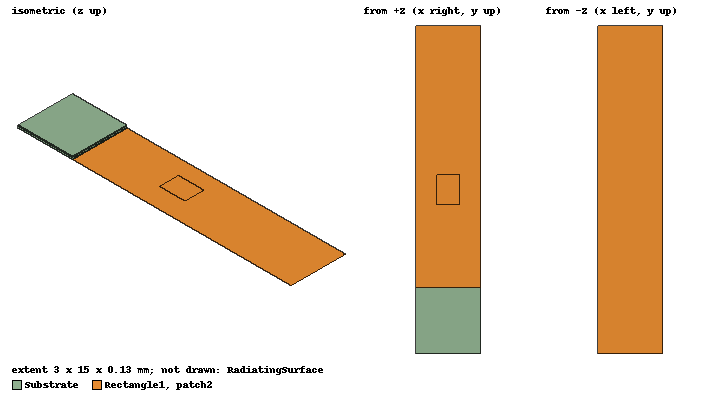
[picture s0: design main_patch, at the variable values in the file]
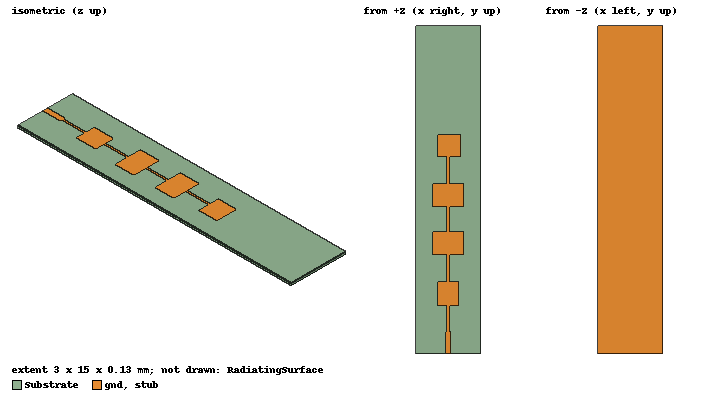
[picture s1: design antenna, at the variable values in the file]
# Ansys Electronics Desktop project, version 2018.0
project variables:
  $subX = 3mm
  $subY = 15mm
  $subThick = 0.13mm
  $patchX = 40.95mil
  $patchY = 55.12mil
  $A1 = 27.568mil
  $A2 = 11.802mil
  $B1 = 47.24mil
  $B2 = 49.21mil
  $B3 = 45.27mil
  $B4 = 49.21mil
  $C1 = 42.52mil
  $C2 = 40.95mil
  $D1 = 16.722mil
  $D2 = 20.002mil
  $E1 = 39.38mil
  $E2 = 55.12mil
  $F1 = 8.4mil
  $F2 = 10.62mil
  $F3 = 3.94mil
  $G = 100mil
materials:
  vacuum: permittivity=1
  Rogers RO3003 (tm): permittivity=3 dielectric_loss_tangent=0.0013
  copper: permeability=0.999991 conductivity=58000000
  FR4_epoxy: permittivity=4.4 dielectric_loss_tangent=0.02
  air: permittivity=1.0006 permeability=1.0000004

design main_patch (HFSS, DrivenModal, model units mm)
options: open_region{BoundaryType=0 OpFreq=77GHz}
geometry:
  RadiatingSurface [vacuum] = region(absolute_offset=1.2987013mm on all sides)
  Substrate [Rogers RO3003 (tm)] = box(corner=(0mm, 0mm, 0mm), size=(3mm, 3mm, 0.13mm))
  Rectangle1 = rectangle(corner=(0mm, 0mm, 0mm), x_size=$subX, y_size=$subY)
  patch2 = rectangle(corner=($subX /2 - $patchX/2, $subY/2-$patchY/2, $subThick), x_size=$patchX, y_size=$patchY)
  feed = rectangle(corner=($subX/2-$patchX/2, $subY/2-3.94mil/2, 0), y_size=3.94mil, z_size=$subThick)
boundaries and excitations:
  AutoOpen1: Radiation Objects=RadiatingSurface
  FiniteCond1: Finite Conductivity Objects=Rectangle1 UseMaterial Material=copper IsInternal
  FiniteCond2: Finite Conductivity Objects=patch2 UseMaterial Material=copper IsInternal
  1: Lumped Port Objects=feed Modes{Mode1{IntLine{middle of feed.edge(z at corner) -> middle of feed.edge(z opposite corner)} CharImp=Zpi RenormImp=50ohm}} Impedance=50ohm
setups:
  Auto1: HfssDriven Frequency=77GHz MaxDeltaS=0.02 MaximumPasses=15 MinimumPasses=1 MinimumConvergedPasses=1 PercentRefinement=30 BasisOrder=1 PortAccuracy=2
    sweep singlePoint: point 77GHz; Type=Discrete
    sweep band: 70GHz to 85GHz step 0.02GHz; Type=Fast SaveFields
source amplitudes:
  1:1: 1W 0deg
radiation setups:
  3D: Infinite Sphere Theta=0deg..180deg step 2deg Phi=-180deg..180deg step 2deg
  Elevation: Infinite Sphere Theta=-180deg..180deg step 1deg Phi=0deg..90deg step 90deg
  Azimuth: Infinite Sphere Theta=90deg..90deg step 0deg Phi=-180deg..180deg step 1deg
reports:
  S Parameter Plot 1: dB(S(1,1)) vs Freq on Auto1 : band; markers MX1 at x=7.8618516e+10
  Z Parameter Plot 1: re(Z(1,1)), im(Z(1,1)) vs Freq on Auto1 : band

design antenna (HFSS, DrivenTerminal, model units mm)
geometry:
  Substrate [Rogers RO3003 (tm)] = box(corner=(0mm, 0mm, 0mm), size=($subX, $subY, $subThick))
  gnd = rectangle(corner=(0mm, 0mm, 0mm), x_size=$subX, y_size=$subY)
  stub = rectangle(corner=($subX/2 - $F2/2, 0mm, $subThick), x_size=$F2, y_size=$A1+$A2)
  feed1 = rectangle(corner=($subX/2 - $F3/2, $A1+$A2, 0.13mm), x_size=$F3, y_size=$B1)
  patch1 = rectangle(corner=($subX/2 - $E1/2, $A1+$A2+$B1, $subThick), x_size=$E1, y_size=$C1)
  feed2 = rectangle(corner=($subX/2 - $F3/2, $A1+$A2+$B1+$C1, $subThick), x_size=$F3, y_size=$B2)
  patch2 = rectangle(corner=($subX/2 - $E2/2, $A1+$A2+$B1+$C1+$B2, $subThick), x_size=$E2, y_size=$C2)
  feed3 = rectangle(corner=($subX/2 - $F3/2, $A1+$A2+$B1+$B2+$C1+$C2, $subThick), x_size=$F3, y_size=$B3)
  patch3 = rectangle(corner=($subX/2-$E2/2, $A1+$A2+$B1+$B2+$B3+$C1+$C2, $subThick), x_size=$E2, y_size=$C2)
  feed4 = rectangle(corner=($subX/2 - $F3/2, $A1+$A2+$B1+$B2+$B3+$C1+$C2+$C2, $subThick), x_size=$F3, y_size=$B4)
  patch4 = rectangle(corner=($subX/2 - $E1/2, $A1+$A2+$B1+$B2+$B3+$B4+$C1+2*$C2, $subThick), x_size=$C1, y_size=$E1)
  stub.unite(patch4, patch3, patch2, patch1, feed4, feed3, feed2, feed1)
  port = rectangle(corner=($subX/2 - $F1/2, 0mm, 0), z_size=$subThick, x_size=$F1)
  RadiatingSurface [vacuum] = region(absolute_offset=1.2820513mm on all sides)
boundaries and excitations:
  FiniteCond1: Finite Conductivity Objects=gnd UseMaterial Material=copper IsInternal
  FiniteCond2: Finite Conductivity Objects=stub UseMaterial Material=copper IsInternal
  Open1: Radiation Objects=RadiatingSurface
  1: Lumped Port Objects=port Impedance=50ohm
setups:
  Auto1: HfssDriven Frequency=78GHz MaxDeltaS=0.02 MaximumPasses=20 MinimumPasses=1 MinimumConvergedPasses=1 PercentRefinement=30 BasisOrder=1 PortAccuracy=2
    sweep singlePoint: point 77GHz; Type=Discrete
    sweep sweep: 70GHz to 85GHz step 0.02GHz; Type=Interpolating InterpTolerance=0.5 InterpMaxSolns=250 PassivityErrorTolerance=0.0001
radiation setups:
  3D: Infinite Sphere Theta=0deg..180deg step 2deg Phi=-180deg..180deg step 2deg
  Elevation: Infinite Sphere Theta=-180deg..180deg step 1deg Phi=0deg..90deg step 90deg
  Azimuth: Infinite Sphere Theta=90deg..90deg step 0deg Phi=-180deg..180deg step 1deg
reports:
  Gain Plot 1: dB(GainTotal) vs Theta on Auto1 : LastAdaptive, Elevation [Phi=all Freq=78GHz]
  Gain Plot 2: dB(GainTotal) vs Phi on Auto1 : LastAdaptive, Azimuth [Theta=all Freq=78GHz]
  Directivity Plot 1: dB(DirTotal) vs Theta, Phi on Auto1 : LastAdaptive, 3D [Freq=78GHz]
